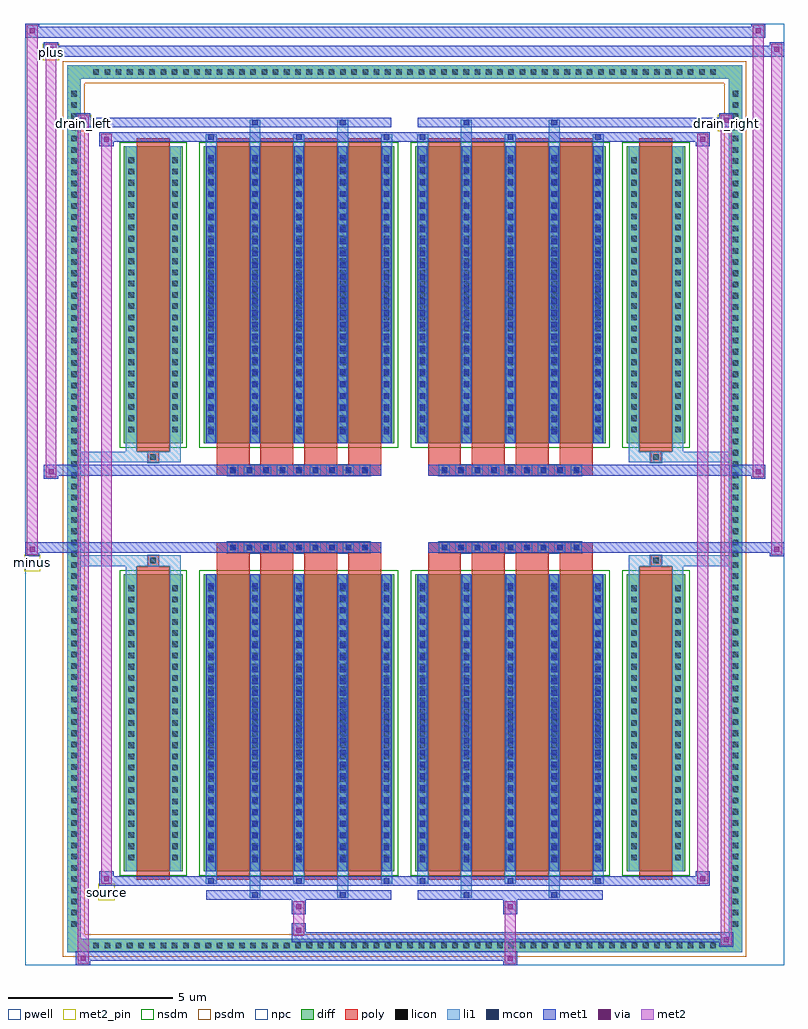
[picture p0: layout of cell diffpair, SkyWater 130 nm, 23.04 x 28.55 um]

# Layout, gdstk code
import gdstk
lib = gdstk.Library(unit=1e-6, precision=5e-09)
def R(c, l, rs):  # rectangles x0, y0, x1, y1
    for r in rs: c.add(gdstk.rectangle(r[:2], r[2:], *l))
def A(c, l, x, y, w, h, nx, ny, dx, dy):  # array of equal rectangles
    R(c, l, [(x+i*dx, y+j*dy, x+i*dx+w, y+j*dy+h) for i in range(nx) for j in range(ny)])
def P(c, l, *ps):  # polygons
    for p in ps: c.add(gdstk.Polygon(p, *l))
pwell = (64, 44)
diff = (65, 20)
poly = (66, 20)
licon = (66, 44)
li1 = (67, 20)
mcon = (67, 44)
met1 = (68, 20)
via = (68, 44)
met2_pin = (69, 16)
met2 = (69, 20)
nsdm = (93, 44)
psdm = (94, 20)
npc = (95, 20)

diffpair = lib.new_cell('diffpair')
R(diffpair, pwell, [(-11.5,-13.84,11.5,14.71), (-8.82,-12.03,-0.01,-0.805), (0.01,-12.03,8.82,-0.805), (-8.82,0.805,-0.01,12.03), (0.01,0.805,8.82,12.03)])
A(diffpair, diff, -9.555, -13.44, 0.41, 0.41, 56, 2, 0.34, 26.47)
A(diffpair, diff, -10.23, -12.785, 0.41, 0.41, 1, 75, 0, 0.34)
A(diffpair, diff, 9.82, -12.785, 0.41, 0.41, 1, 75, 0, 0.34)
R(diffpair, diff, [(-9.555,-13.44,9.555,-13.03), (-10.23,-12.785,-9.82,12.785), (9.82,-12.785,10.23,12.785), (-8.51,-10.985,-6.73,-1.985), (-6.09,-10.985,-0.32,-1.985), (0.32,-10.985,6.09,-1.985), (6.73,-10.985,8.51,-1.985), (-8.51,1.985,-6.73,10.985), (-6.09,1.985,-0.32,10.985), (0.32,1.985,6.09,10.985), (6.73,1.985,8.51,10.985), (-9.555,13.03,9.555,13.44)])
P(diffpair, diff, [(10.23,13.44),(-10.23,13.44),(-10.23,-13.03),(-9.82,-13.03),(-9.82,13.03),(9.82,13.03),(9.82,-13.03),(-9.82,-13.03),(-10.23,-13.03),(-10.23,-13.44),(10.23,-13.44)])
A(diffpair, poly, -5.7, -11.235, 1, 9.5, 4, 2, 1.33, 12.97)
A(diffpair, poly, 0.71, -11.235, 1, 9.5, 4, 2, 1.33, 12.97)
A(diffpair, poly, -5.7, -1.735, 1, 0.4, 4, 2, 1.33, 3.07)
A(diffpair, poly, 0.71, -1.735, 1, 0.4, 4, 2, 1.33, 3.07)
A(diffpair, poly, -5.37, -1.335, 0.33, 0.33, 9, 2, 0.5, 2.34)
A(diffpair, poly, 1.04, -1.335, 0.33, 0.33, 9, 2, 0.5, 2.34)
R(diffpair, poly, [(-8.12,-11.235,-7.12,-1.735), (7.12,-11.235,8.12,-1.735), (-7.785,-1.735,-7.455,-1.405), (-7.785,-1.735,-7.455,-1.405), (7.455,-1.735,7.785,-1.405), (7.455,-1.735,7.785,-1.405), (-5.7,-1.335,-0.71,-1.005), (0.71,-1.335,5.7,-1.005), (-5.7,1.005,-0.71,1.335), (0.71,1.005,5.7,1.335), (-7.785,1.405,-7.455,1.735), (-7.785,1.405,-7.455,1.735), (7.455,1.405,7.785,1.735), (7.455,1.405,7.785,1.735), (-8.12,1.735,-7.12,11.235), (7.12,1.735,8.12,11.235)])
A(diffpair, licon, -9.435, -13.32, 0.17, 0.17, 56, 2, 0.34, 26.47)
A(diffpair, licon, -10.11, -12.665, 0.17, 0.17, 1, 75, 0, 0.34)
A(diffpair, licon, 9.94, -12.665, 0.17, 0.17, 1, 75, 0, 0.34)
A(diffpair, licon, -8.37, -10.65, 0.17, 0.17, 1, 25, 0, 0.34)
A(diffpair, licon, -7.04, -10.65, 0.17, 0.17, 1, 25, 0, 0.34)
A(diffpair, licon, -5.95, -10.65, 0.17, 0.17, 5, 25, 1.33, 0.34)
A(diffpair, licon, 0.46, -10.65, 0.17, 0.17, 5, 25, 1.33, 0.34)
A(diffpair, licon, 6.87, -10.65, 0.17, 0.17, 1, 25, 0, 0.34)
A(diffpair, licon, 8.2, -10.65, 0.17, 0.17, 1, 25, 0, 0.34)
A(diffpair, licon, -5.29, -1.255, 0.17, 0.17, 9, 2, 0.5, 2.34)
A(diffpair, licon, 1.12, -1.255, 0.17, 0.17, 9, 2, 0.5, 2.34)
A(diffpair, licon, -8.37, 2.32, 0.17, 0.17, 1, 25, 0, 0.34)
A(diffpair, licon, -7.04, 2.32, 0.17, 0.17, 1, 25, 0, 0.34)
A(diffpair, licon, -5.95, 2.32, 0.17, 0.17, 5, 25, 1.33, 0.34)
A(diffpair, licon, 0.46, 2.32, 0.17, 0.17, 5, 25, 1.33, 0.34)
A(diffpair, licon, 6.87, 2.32, 0.17, 0.17, 1, 25, 0, 0.34)
A(diffpair, licon, 8.2, 2.32, 0.17, 0.17, 1, 25, 0, 0.34)
R(diffpair, licon, [(-7.705,-1.655,-7.535,-1.485), (7.535,-1.655,7.705,-1.485), (-7.705,1.485,-7.535,1.655), (7.535,1.485,7.705,1.655)])
A(diffpair, li1, -9.515, -13.4, 0.33, 0.33, 56, 2, 0.34, 26.47)
A(diffpair, li1, -10.19, -12.745, 0.33, 0.33, 1, 75, 0, 0.34)
A(diffpair, li1, 9.86, -12.745, 0.33, 0.33, 1, 75, 0, 0.34)
A(diffpair, li1, -6.03, -11.36, 0.33, 0.375, 3, 2, 2.66, 22.345)
A(diffpair, li1, -5.95, -11.36, 0.17, 0.17, 3, 2, 2.66, 22.55)
A(diffpair, li1, 0.38, -11.36, 0.33, 0.375, 3, 2, 2.66, 22.345)
A(diffpair, li1, 0.46, -11.36, 0.17, 0.17, 3, 2, 2.66, 22.55)
A(diffpair, li1, -6.03, -10.985, 0.33, 9, 5, 2, 1.33, 12.97)
A(diffpair, li1, 0.38, -10.985, 0.33, 9, 5, 2, 1.33, 12.97)
A(diffpair, li1, -8.45, -10.73, 0.33, 0.33, 1, 25, 0, 0.34)
A(diffpair, li1, -7.12, -10.73, 0.33, 0.33, 1, 25, 0, 0.34)
A(diffpair, li1, -6.03, -10.73, 0.33, 0.33, 5, 25, 1.33, 0.34)
A(diffpair, li1, 0.38, -10.73, 0.33, 0.33, 5, 25, 1.33, 0.34)
A(diffpair, li1, 6.79, -10.73, 0.33, 0.33, 1, 25, 0, 0.34)
A(diffpair, li1, 8.12, -10.73, 0.33, 0.33, 1, 25, 0, 0.34)
A(diffpair, li1, -5.95, -10.71, 0.17, 0.17, 5, 24, 1.33, 0.36)
A(diffpair, li1, -5.95, -10.71, 0.17, 8.45, 5, 2, 1.33, 12.97)
A(diffpair, li1, 0.46, -10.71, 0.17, 0.17, 5, 24, 1.33, 0.36)
A(diffpair, li1, 0.46, -10.71, 0.17, 8.45, 5, 2, 1.33, 12.97)
A(diffpair, li1, -5.37, -1.335, 0.33, 0.33, 9, 2, 0.5, 2.34)
A(diffpair, li1, 1.04, -1.335, 0.33, 0.33, 9, 2, 0.5, 2.34)
A(diffpair, li1, -8.45, 2.24, 0.33, 0.33, 1, 25, 0, 0.34)
A(diffpair, li1, -7.12, 2.24, 0.33, 0.33, 1, 25, 0, 0.34)
A(diffpair, li1, -6.03, 2.24, 0.33, 0.33, 5, 25, 1.33, 0.34)
A(diffpair, li1, 0.38, 2.24, 0.33, 0.33, 5, 25, 1.33, 0.34)
A(diffpair, li1, 6.79, 2.24, 0.33, 0.33, 1, 25, 0, 0.34)
A(diffpair, li1, 8.12, 2.24, 0.33, 0.33, 1, 25, 0, 0.34)
A(diffpair, li1, -5.95, 2.26, 0.17, 0.17, 5, 24, 1.33, 0.36)
A(diffpair, li1, 0.46, 2.26, 0.17, 0.17, 5, 24, 1.33, 0.36)
R(diffpair, li1, [(-10.23,-13.44,-9.82,-13.03), (-10.23,-13.44,-9.82,-13.03), (-9.82,-13.44,9.82,-13.03), (9.82,-13.44,10.23,-13.03), (9.82,-13.44,10.23,-13.03), (-10.23,-13.03,-9.82,13.03), (9.82,-13.03,10.23,13.03), (-4.7,-11.79,-4.37,-10.985), (-4.62,-11.79,-4.45,-11.62), (-2.04,-11.79,-1.71,-10.985), (-1.96,-11.79,-1.79,-11.62), (1.71,-11.79,2.04,-10.985), (1.79,-11.79,1.96,-11.62), (4.37,-11.79,4.7,-10.985), (4.45,-11.79,4.62,-11.62), (-8.45,-10.985,-8.12,-1.985), (-7.12,-10.985,-6.79,-1.985), (6.79,-10.985,7.12,-1.985), (8.12,-10.985,8.45,-1.985), (-8.45,-1.985,-8.12,-1.405), (-7.12,-1.985,-6.79,-1.405), (6.79,-1.985,7.12,-1.405), (8.12,-1.985,8.45,-1.405), (-10.23,-1.735,-7.785,-1.405), (-8.45,-1.735,-7.785,-1.405), (-7.785,-1.735,-7.455,-1.405), (-7.455,-1.735,-6.79,-1.405), (6.79,-1.735,7.455,-1.405), (7.455,-1.735,7.785,-1.405), (7.455,-1.735,10.23,-1.405), (7.785,-1.735,8.45,-1.405), (-10.23,1.405,-7.785,1.735), (-8.45,1.405,-7.785,1.735), (-8.45,1.405,-8.12,1.985), (-7.785,1.405,-7.455,1.735), (-7.455,1.405,-6.79,1.735), (-7.12,1.405,-6.79,1.985), (6.79,1.405,7.455,1.735), (6.79,1.405,7.12,1.985), (7.455,1.405,7.785,1.735), (7.455,1.405,10.23,1.735), (7.785,1.405,8.45,1.735), (8.12,1.405,8.45,1.985), (-8.45,1.985,-8.12,10.985), (-7.12,1.985,-6.79,10.985), (6.79,1.985,7.12,10.985), (8.12,1.985,8.45,10.985), (-4.7,10.985,-4.37,11.79), (-2.04,10.985,-1.71,11.79), (1.71,10.985,2.04,11.79), (4.37,10.985,4.7,11.79), (-4.62,11.62,-4.45,11.79), (-1.96,11.62,-1.79,11.79), (1.79,11.62,1.96,11.79), (4.45,11.62,4.62,11.79), (-10.23,13.03,-9.82,13.44), (-10.23,13.03,-9.82,13.44), (-9.82,13.03,9.82,13.44), (9.82,13.03,10.23,13.44), (9.82,13.03,10.23,13.44)])
A(diffpair, mcon, -5.95, -11.36, 0.17, 0.17, 3, 2, 2.66, 22.55)
A(diffpair, mcon, 0.46, -11.36, 0.17, 0.17, 3, 2, 2.66, 22.55)
A(diffpair, mcon, -5.95, -10.71, 0.17, 0.17, 5, 24, 1.33, 0.36)
A(diffpair, mcon, 0.46, -10.71, 0.17, 0.17, 5, 24, 1.33, 0.36)
A(diffpair, mcon, -5.29, -1.255, 0.17, 0.17, 9, 2, 0.5, 2.34)
A(diffpair, mcon, 1.12, -1.255, 0.17, 0.17, 9, 2, 0.5, 2.34)
A(diffpair, mcon, -5.95, 2.26, 0.17, 0.17, 5, 24, 1.33, 0.36)
A(diffpair, mcon, 0.46, 2.26, 0.17, 0.17, 5, 24, 1.33, 0.36)
R(diffpair, mcon, [(-4.62,-11.79,-4.45,-11.62), (-1.96,-11.79,-1.79,-11.62), (1.79,-11.79,1.96,-11.62), (4.45,-11.79,4.62,-11.62), (-4.62,11.62,-4.45,11.79), (-1.96,11.62,-1.79,11.79), (1.79,11.62,1.96,11.79), (4.45,11.62,4.62,11.79)])
A(diffpair, met1, -6.01, -11.42, 0.29, 0.29, 3, 2, 2.66, 22.55)
A(diffpair, met1, 0.4, -11.42, 0.29, 0.29, 3, 2, 2.66, 22.55)
A(diffpair, met1, -6.01, -10.985, 0.29, 9, 5, 2, 1.33, 12.97)
A(diffpair, met1, 0.4, -10.985, 0.29, 9, 5, 2, 1.33, 12.97)
A(diffpair, met1, -6.01, -10.77, 0.29, 0.29, 5, 24, 1.33, 0.36)
A(diffpair, met1, 0.4, -10.77, 0.29, 0.29, 5, 24, 1.33, 0.36)
A(diffpair, met1, -5.35, -1.315, 0.29, 0.29, 9, 2, 0.5, 2.34)
A(diffpair, met1, 1.06, -1.315, 0.29, 0.29, 9, 2, 0.5, 2.34)
A(diffpair, met1, -6.01, 2.2, 0.29, 0.29, 5, 24, 1.33, 0.36)
A(diffpair, met1, 0.4, 2.2, 0.29, 0.29, 5, 24, 1.33, 0.36)
R(diffpair, met1, [(-9.96,-13.84,-9.53,-13.41), (2.99,-13.84,3.42,-13.41), (-9.96,-13.7,3.42,-13.41), (9.53,-13.27,9.96,-12.84), (-3.42,-13.13,9.96,-12.84), (-3.42,-12.99,-2.99,-12.56), (-3.42,-12.28,-2.99,-11.85), (2.99,-12.28,3.42,-11.85), (-6.01,-11.85,-0.4,-11.56), (-4.68,-11.85,-4.39,-11.56), (-2.02,-11.85,-1.73,-11.56), (0.4,-11.85,6.01,-11.56), (1.73,-11.85,2.02,-11.56), (4.39,-11.85,4.68,-11.56), (-9.25,-11.42,-8.82,-10.99), (-9.25,-11.42,-6.01,-11.13), (-6.01,-11.42,-0.4,-11.13), (-0.4,-11.42,0.4,-11.13), (0.4,-11.42,6.01,-11.13), (6.01,-11.42,9.25,-11.13), (8.82,-11.42,9.25,-10.99), (-11.5,-1.435,-11.07,-1.005), (11.07,-1.435,11.5,-1.005), (-11.5,-1.335,-0.71,-1.005), (-5.7,-1.335,-0.71,-1.005), (0.71,-1.335,5.7,-1.005), (0.71,-1.335,11.5,-1.005), (-10.93,0.905,-10.5,1.335), (10.5,0.905,10.93,1.335), (-10.93,1.005,-5.7,1.335), (-5.7,1.005,-0.71,1.335), (0.71,1.005,5.7,1.335), (5.7,1.005,10.93,1.335), (-9.25,10.99,-8.82,11.42), (8.82,10.99,9.25,11.42), (-9.25,11.13,-6.01,11.42), (-6.01,11.13,-0.4,11.42), (-0.4,11.13,0.4,11.42), (0.4,11.13,6.01,11.42), (6.01,11.13,9.25,11.42), (-9.96,11.56,-9.53,11.99), (-9.96,11.56,-6.01,11.85), (-6.01,11.56,-0.4,11.85), (-4.68,11.56,-4.39,11.85), (-2.02,11.56,-1.73,11.85), (0.4,11.56,6.01,11.85), (1.73,11.56,2.02,11.85), (4.39,11.56,4.68,11.85), (6.01,11.56,9.96,11.85), (9.53,11.56,9.96,11.99), (-10.93,13.71,-10.5,14.14), (-10.93,13.71,-8.82,14.04), (-8.82,13.71,8.82,14.04), (8.82,13.71,11.5,14.04), (11.07,13.71,11.5,14.14), (-11.5,14.28,-11.07,14.71), (-11.5,14.28,-8.82,14.61), (-8.82,14.28,8.82,14.61), (8.82,14.28,10.93,14.61), (10.5,14.28,10.93,14.71)])
R(diffpair, via, [(-9.82,-13.7,-9.67,-13.55), (3.13,-13.7,3.28,-13.55), (9.67,-13.13,9.82,-12.98), (-3.28,-12.85,-3.13,-12.7), (-3.28,-12.14,-3.13,-11.99), (3.13,-12.14,3.28,-11.99), (-9.11,-11.28,-8.96,-11.13), (8.96,-11.28,9.11,-11.13), (-11.36,-1.295,-11.21,-1.145), (11.21,-1.295,11.36,-1.145), (-10.79,1.045,-10.64,1.195), (10.64,1.045,10.79,1.195), (-9.11,11.13,-8.96,11.28), (8.96,11.13,9.11,11.28), (-9.82,11.7,-9.67,11.85), (9.67,11.7,9.82,11.85), (-10.79,13.85,-10.64,14), (11.21,13.85,11.36,14), (-11.36,14.42,-11.21,14.57), (10.64,14.42,10.79,14.57)])
R(diffpair, met2_pin, [(-9.285,-11.87,-8.785,-11.37), (-11.535,-1.885,-11.035,-1.385), (-9.995,11.44,-9.495,11.94), (9.495,11.44,9.995,11.94), (-10.965,13.59,-10.465,14.09)])
R(diffpair, met2, [(-9.91,-13.79,-9.58,-13.46), (-9.91,-13.79,-9.58,11.94), (3.04,-13.79,3.37,-13.46), (3.04,-13.46,3.37,-12.23), (9.58,-13.22,9.91,-12.89), (9.58,-13.22,9.91,11.94), (-3.37,-12.94,-3.04,-12.61), (-3.37,-12.61,-3.04,-12.23), (-3.37,-12.23,-3.04,-11.9), (3.04,-12.23,3.37,-11.9), (-9.2,-11.37,-8.87,-11.04), (-9.2,-11.37,-8.87,11.37), (8.87,-11.37,9.2,-11.04), (8.87,-11.37,9.2,11.37), (-11.45,-1.385,-11.12,-1.055), (-11.45,-1.385,-11.12,14.66), (11.12,-1.385,11.45,-1.055), (11.12,-1.385,11.45,14.09), (-10.88,0.955,-10.55,1.285), (-10.88,0.955,-10.55,14.09), (10.55,0.955,10.88,1.285), (10.55,0.955,10.88,14.66), (-9.2,11.04,-8.87,11.37), (8.87,11.04,9.2,11.37), (-9.91,11.61,-9.58,11.94), (9.58,11.61,9.91,11.94), (-10.88,13.76,-10.55,14.09), (11.12,13.76,11.45,14.09), (-11.45,14.33,-11.12,14.66), (10.55,14.33,10.88,14.66)])
P(diffpair, met2, [(11.45,-1.385),(11.45,-1.385),(11.45,-1.055),(11.45,-1.055)],
  [(11.45,13.76),(11.45,13.76),(11.45,14.09),(11.45,14.09)],
  [(-11.12,-1.385),(-11.12,-1.385),(-11.12,-1.055),(-11.12,-1.055)],
  [(-11.12,14.33),(-11.12,14.33),(-11.12,14.66),(-11.12,14.66)],
  [(10.88,0.955),(10.88,0.955),(10.88,1.285),(10.88,1.285)],
  [(10.88,14.33),(10.88,14.33),(10.88,14.66),(10.88,14.66)],
  [(-10.55,0.955),(-10.55,0.955),(-10.55,1.285),(-10.55,1.285)],
  [(-10.55,13.76),(-10.55,13.76),(-10.55,14.09),(-10.55,14.09)],
  [(-9.58,-13.79),(-9.58,-13.79),(-9.58,-13.46),(-9.58,-13.46)],
  [(-9.58,11.61),(-9.58,11.61),(-9.58,11.94),(-9.58,11.94)],
  [(9.91,-13.22),(9.91,-13.22),(9.91,-12.89),(9.91,-12.89)],
  [(9.91,11.61),(9.91,11.61),(9.91,11.94),(9.91,11.94)],
  [(-8.87,-11.37),(-8.87,-11.37),(-8.87,-11.04),(-8.87,-11.04)],
  [(-8.87,11.04),(-8.87,11.04),(-8.87,11.37),(-8.87,11.37)],
  [(9.2,-11.37),(9.2,-11.37),(9.2,-11.04),(9.2,-11.04)],
  [(9.2,11.04),(9.2,11.04),(9.2,11.37),(9.2,11.37)])
R(diffpair, nsdm, [(-8.64,-11.115,-6.6,-1.855), (-6.22,-11.115,-0.19,-1.855), (0.19,-11.115,6.22,-1.855), (6.6,-11.115,8.64,-1.855), (-8.64,1.855,-6.6,11.115), (-6.22,1.855,-0.19,11.115), (0.19,1.855,6.22,11.115), (6.6,1.855,8.64,11.115)])
P(diffpair, psdm, [(10.36,13.57),(-10.36,13.57),(-10.36,-12.9),(-9.69,-12.9),(-9.69,12.9),(9.69,12.9),(9.69,-12.9),(-9.69,-12.9),(-10.36,-12.9),(-10.36,-13.57),(10.36,-13.57)])
A(diffpair, npc, -5.39, -1.355, 0.37, 0.37, 9, 2, 0.5, 2.34)
A(diffpair, npc, 1.02, -1.355, 0.37, 0.37, 9, 2, 0.5, 2.34)
R(diffpair, npc, [(-7.805,-1.755,-7.435,-1.385), (7.435,-1.755,7.805,-1.385), (-5.39,-1.355,-4.52,-0.985), (-5.39,-1.355,-4.52,-0.985), (-4.89,-1.355,-4.02,-0.985), (-4.89,-1.355,-4.02,-0.985), (-4.39,-1.355,-3.52,-0.985), (-4.39,-1.355,-3.52,-0.985), (-3.89,-1.355,-3.02,-0.985), (-3.89,-1.355,-3.02,-0.985), (-3.39,-1.355,-2.52,-0.985), (-3.39,-1.355,-2.52,-0.985), (-2.89,-1.355,-2.02,-0.985), (-2.89,-1.355,-2.02,-0.985), (-2.39,-1.355,-1.52,-0.985), (-2.39,-1.355,-1.52,-0.985), (-1.89,-1.355,-1.02,-0.985), (-1.89,-1.355,-1.02,-0.985), (1.02,-1.355,1.89,-0.985), (1.02,-1.355,1.89,-0.985), (1.52,-1.355,2.39,-0.985), (1.52,-1.355,2.39,-0.985), (2.02,-1.355,2.89,-0.985), (2.02,-1.355,2.89,-0.985), (2.52,-1.355,3.39,-0.985), (2.52,-1.355,3.39,-0.985), (3.02,-1.355,3.89,-0.985), (3.02,-1.355,3.89,-0.985), (3.52,-1.355,4.39,-0.985), (3.52,-1.355,4.39,-0.985), (4.02,-1.355,4.89,-0.985), (4.02,-1.355,4.89,-0.985), (4.52,-1.355,5.39,-0.985), (4.52,-1.355,5.39,-0.985), (-5.39,0.985,-4.52,1.355), (-5.39,0.985,-4.52,1.355), (-4.89,0.985,-4.02,1.355), (-4.89,0.985,-4.02,1.355), (-4.39,0.985,-3.52,1.355), (-4.39,0.985,-3.52,1.355), (-3.89,0.985,-3.02,1.355), (-3.89,0.985,-3.02,1.355), (-3.39,0.985,-2.52,1.355), (-3.39,0.985,-2.52,1.355), (-2.89,0.985,-2.02,1.355), (-2.89,0.985,-2.02,1.355), (-2.39,0.985,-1.52,1.355), (-2.39,0.985,-1.52,1.355), (-1.89,0.985,-1.02,1.355), (-1.89,0.985,-1.02,1.355), (1.02,0.985,1.89,1.355), (1.02,0.985,1.89,1.355), (1.52,0.985,2.39,1.355), (1.52,0.985,2.39,1.355), (2.02,0.985,2.89,1.355), (2.02,0.985,2.89,1.355), (2.52,0.985,3.39,1.355), (2.52,0.985,3.39,1.355), (3.02,0.985,3.89,1.355), (3.02,0.985,3.89,1.355), (3.52,0.985,4.39,1.355), (3.52,0.985,4.39,1.355), (4.02,0.985,4.89,1.355), (4.02,0.985,4.89,1.355), (4.52,0.985,5.39,1.355), (4.52,0.985,5.39,1.355), (-7.805,1.385,-7.435,1.755), (7.435,1.385,7.805,1.755)])
diffpair.add(gdstk.Label('minus', (-11.285,-1.635), layer=69, texttype=5))
diffpair.add(gdstk.Label('drain_right', (9.745,11.69), layer=69, texttype=5))
diffpair.add(gdstk.Label('drain_left', (-9.745,11.69), layer=69, texttype=5))
diffpair.add(gdstk.Label('source', (-9.035,-11.62), layer=69, texttype=5))
diffpair.add(gdstk.Label('plus', (-10.715,13.84), layer=69, texttype=5))

lib.write_gds('diffpair.gds')
